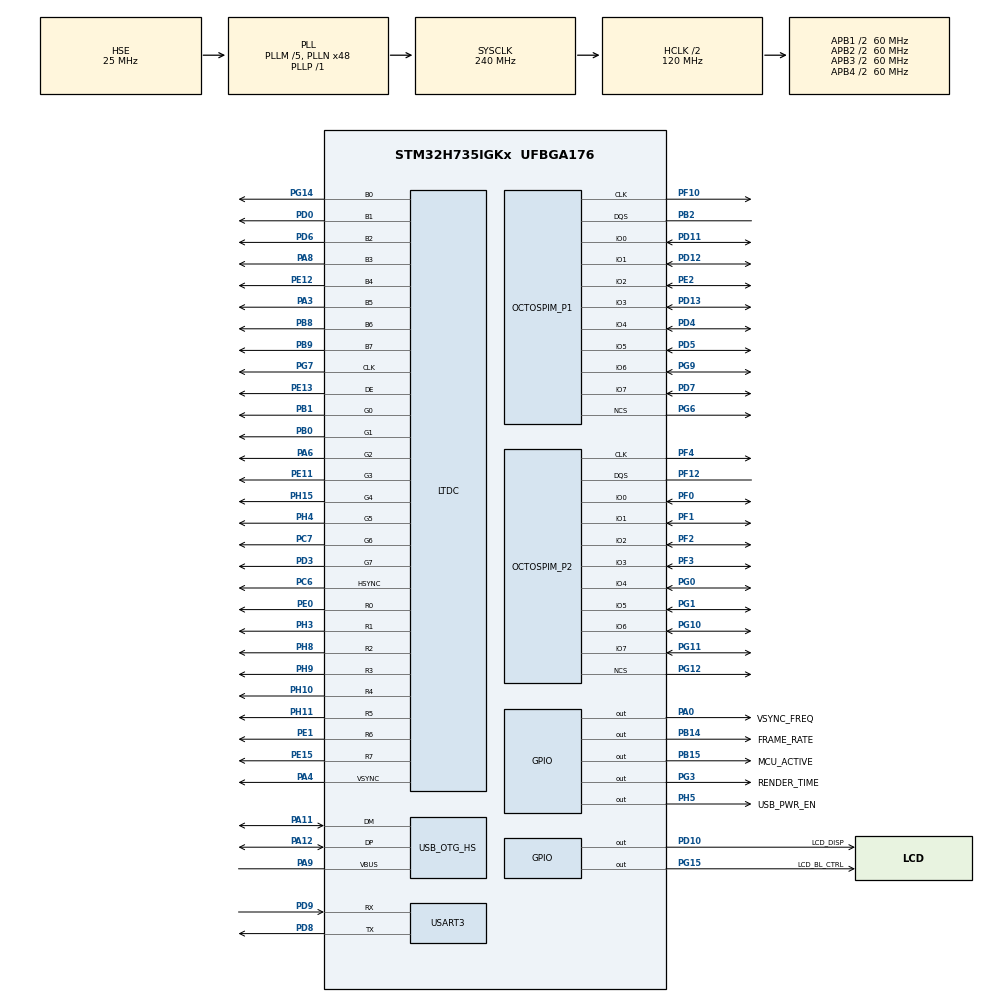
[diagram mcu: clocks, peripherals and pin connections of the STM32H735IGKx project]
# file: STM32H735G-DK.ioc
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CORTEX_M7.AccessPermission-Cortex_Memory_Protection_Unit_Region0_Settings=MPU_REGION_FULL_ACCESS
CORTEX_M7.AccessPermission-Cortex_Memory_Protection_Unit_Region2_Settings=MPU_REGION_FULL_ACCESS
CORTEX_M7.AccessPermission-Cortex_Memory_Protection_Unit_Region4_Settings=MPU_REGION_FULL_ACCESS
CORTEX_M7.BaseAddress-Cortex_Memory_Protection_Unit_Region0_Settings=0x24000000
CORTEX_M7.BaseAddress-Cortex_Memory_Protection_Unit_Region1_Settings=0x70000000
CORTEX_M7.BaseAddress-Cortex_Memory_Protection_Unit_Region2_Settings=0x70000000
CORTEX_M7.BaseAddress-Cortex_Memory_Protection_Unit_Region3_Settings=0x90000000
CORTEX_M7.BaseAddress-Cortex_Memory_Protection_Unit_Region4_Settings=0x90000000
CORTEX_M7.CPU_DCache=Enabled
CORTEX_M7.CPU_ICache=Enabled
CORTEX_M7.DisableExec-Cortex_Memory_Protection_Unit_Region0_Settings=MPU_INSTRUCTION_ACCESS_DISABLE
CORTEX_M7.DisableExec-Cortex_Memory_Protection_Unit_Region1_Settings=MPU_INSTRUCTION_ACCESS_DISABLE
CORTEX_M7.DisableExec-Cortex_Memory_Protection_Unit_Region2_Settings=MPU_INSTRUCTION_ACCESS_DISABLE
CORTEX_M7.DisableExec-Cortex_Memory_Protection_Unit_Region3_Settings=MPU_INSTRUCTION_ACCESS_DISABLE
CORTEX_M7.DisableExec-Cortex_Memory_Protection_Unit_Region4_Settings=MPU_INSTRUCTION_ACCESS_DISABLE
CORTEX_M7.Enable-Cortex_Memory_Protection_Unit_Region0_Settings=MPU_REGION_ENABLE
CORTEX_M7.Enable-Cortex_Memory_Protection_Unit_Region1_Settings=MPU_REGION_ENABLE
CORTEX_M7.Enable-Cortex_Memory_Protection_Unit_Region2_Settings=MPU_REGION_ENABLE
CORTEX_M7.Enable-Cortex_Memory_Protection_Unit_Region3_Settings=MPU_REGION_ENABLE
CORTEX_M7.Enable-Cortex_Memory_Protection_Unit_Region4_Settings=MPU_REGION_ENABLE
CORTEX_M7.IsBufferable-Cortex_Memory_Protection_Unit_Region0_Settings=MPU_ACCESS_BUFFERABLE
CORTEX_M7.IsBufferable-Cortex_Memory_Protection_Unit_Region2_Settings=MPU_ACCESS_BUFFERABLE
CORTEX_M7.IsCacheable-Cortex_Memory_Protection_Unit_Region0_Settings=MPU_ACCESS_CACHEABLE
CORTEX_M7.IsCacheable-Cortex_Memory_Protection_Unit_Region2_Settings=MPU_ACCESS_CACHEABLE
CORTEX_M7.IsCacheable-Cortex_Memory_Protection_Unit_Region4_Settings=MPU_ACCESS_CACHEABLE
CORTEX_M7.MPU_Control=MPU_PRIVILEGED_DEFAULT
CORTEX_M7.Size-Cortex_Memory_Protection_Unit_Region0_Settings=MPU_REGION_SIZE_512KB
CORTEX_M7.Size-Cortex_Memory_Protection_Unit_Region1_Settings=MPU_REGION_SIZE_512MB
CORTEX_M7.Size-Cortex_Memory_Protection_Unit_Region2_Settings=MPU_REGION_SIZE_8MB
CORTEX_M7.Size-Cortex_Memory_Protection_Unit_Region3_Settings=MPU_REGION_SIZE_512MB
CORTEX_M7.Size-Cortex_Memory_Protection_Unit_Region4_Settings=MPU_REGION_SIZE_64MB
DMA2D.ColorMode=DMA2D_OUTPUT_RGB888
DMA2D.Mode=DMA2D_R2M
FREERTOS.Tasks01=defaultTask,24,128,StartDefaultTask,Default,NULL,Dynamic,NULL,NULL;TouchGFXTask,24,1024,TouchGFX_Task,As external,NULL,Dynamic,NULL,NULL
FREERTOS.configUSE_APPLICATION_TASK_TAG=1
FREERTOS.configUSE_IDLE_HOOK=1
FREERTOS.configUSE_NEWLIB_REENTRANT=1
LTDC.ActiveH=272
LTDC.ActiveW=480
LTDC.Alpha_L0=255
LTDC.FBStartAdress_L0=0x70000000
LTDC.FBStartAdress_L1=0x70000000
LTDC.HBP=13
LTDC.HFP=32
LTDC.HSync=41
LTDC.ImageHeight_L0=272
LTDC.ImageWidth_L0=480
LTDC.Layers=0
LTDC.PixelFormat_L0=LTDC_PIXEL_FORMAT_RGB888
LTDC.VSync=10
LTDC.WindowX1_L0=480
LTDC.WindowY1_L0=272
Mcu.Family=STM32H7
Mcu.Name=STM32H735IGKx
Mcu.Package=UFBGA176
NVIC.DMA2D_IRQn=true\:5\:0\:true\:false\:true\:false\:true\:true\:true
NVIC.LTDC_IRQn=true\:5\:0\:true\:false\:true\:false\:true\:true\:true
NVIC.PriorityGroup=NVIC_PRIORITYGROUP_4
NVIC.TIM6_DAC_IRQn=true\:0\:0\:false\:false\:true\:false\:false\:true\:true
NVIC.TimeBase=TIM6_DAC_IRQn
NVIC.TimeBaseIP=TIM6
OCTOSPI1.ChipSelectBoundary=0
OCTOSPI1.ChipSelectHighTime=2
OCTOSPI1.ClockPrescaler=2
OCTOSPI1.FifoThreshold=4
OCTOSPI1.MemoryType=HAL_OSPI_MEMTYPE_MACRONIX
OCTOSPI2.AccessTime=6
OCTOSPI2.ChipSelectBoundary=23
OCTOSPI2.ChipSelectHighTime=4
OCTOSPI2.ClkChipSelectHighTime=0
OCTOSPI2.ClockPrescaler=2
OCTOSPI2.DelayBlockBypass=HAL_OSPI_DELAY_BLOCK_USED
OCTOSPI2.DelayHoldQuarterCycle=HAL_OSPI_DHQC_ENABLE
OCTOSPI2.DeviceSize=24
OCTOSPI2.FifoThreshold=4
OCTOSPI2.LatencyMode=HAL_OSPI_FIXED_LATENCY
OCTOSPI2.RWRecoveryTime=3
OCTOSPI2.Refresh=400
OCTOSPI2.WriteZeroLatency=HAL_OSPI_LATENCY_ON_WRITE
PA0.GPIO_Label=VSYNC_FREQ
PA0.GPIO_Speed=GPIO_SPEED_FREQ_VERY_HIGH
PA0.Signal=GPIO_Output
PA11.Mode=Host_FS
PA11.Signal=USB_OTG_HS_DM
PA12.Mode=Host_FS
PA12.Signal=USB_OTG_HS_DP
PA3.GPIO_Speed=GPIO_SPEED_FREQ_VERY_HIGH
PA3.Mode=RGB888
PA3.Signal=LTDC_B5
PA4.GPIO_Speed=GPIO_SPEED_FREQ_VERY_HIGH
PA4.Mode=RGB888
PA4.Signal=LTDC_VSYNC
PA6.GPIO_Speed=GPIO_SPEED_FREQ_VERY_HIGH
PA6.Mode=RGB888
PA6.Signal=LTDC_G2
PA8.GPIO_Speed=GPIO_SPEED_FREQ_VERY_HIGH
PA8.Mode=RGB888
PA8.Signal=LTDC_B3
PA9.Mode=Activate_VBUS_FS
PA9.Signal=USB_OTG_HS_VBUS
PB0.GPIO_Speed=GPIO_SPEED_FREQ_VERY_HIGH
PB0.Mode=RGB888
PB0.Signal=LTDC_G1
PB1.GPIO_Speed=GPIO_SPEED_FREQ_VERY_HIGH
PB1.Mode=RGB888
PB1.Signal=LTDC_G0
PB14.GPIO_Label=FRAME_RATE
PB14.GPIO_Speed=GPIO_SPEED_FREQ_VERY_HIGH
PB14.Signal=GPIO_Output
PB15.GPIO_Label=MCU_ACTIVE
PB15.GPIO_Speed=GPIO_SPEED_FREQ_VERY_HIGH
PB15.Signal=GPIO_Output
PB2.Mode=OCTOSPI1_Port1_DQS
PB2.Signal=OCTOSPIM_P1_DQS
PB8.GPIO_Speed=GPIO_SPEED_FREQ_VERY_HIGH
PB8.Mode=RGB888
PB8.Signal=LTDC_B6
PB9.GPIO_Speed=GPIO_SPEED_FREQ_VERY_HIGH
PB9.Mode=RGB888
PB9.Signal=LTDC_B7
PC6.GPIO_Speed=GPIO_SPEED_FREQ_VERY_HIGH
PC6.Mode=RGB888
PC6.Signal=LTDC_HSYNC
PC7.GPIO_Speed=GPIO_SPEED_FREQ_VERY_HIGH
PC7.Mode=RGB888
PC7.Signal=LTDC_G6
PD0.GPIO_Speed=GPIO_SPEED_FREQ_VERY_HIGH
PD0.Mode=RGB888
PD0.Signal=LTDC_B1
PD10.GPIO_Label=LCD_DISP
PD10.GPIO_PuPd=GPIO_NOPULL
PD10.GPIO_Speed=GPIO_SPEED_FREQ_LOW
PD10.PinState=GPIO_PIN_RESET
PD10.Signal=GPIO_Output
PD11.Mode=OCTOSPI1_IOL_Port1L
PD11.Signal=OCTOSPIM_P1_IO0
PD12.Mode=OCTOSPI1_IOL_Port1L
PD12.Signal=OCTOSPIM_P1_IO1
PD13.Mode=OCTOSPI1_IOL_Port1L
PD13.Signal=OCTOSPIM_P1_IO3
PD3.GPIO_Speed=GPIO_SPEED_FREQ_VERY_HIGH
PD3.Mode=RGB888
PD3.Signal=LTDC_G7
PD4.Mode=OCTOSPI1_IOH_Port1H
PD4.Signal=OCTOSPIM_P1_IO4
PD5.Mode=OCTOSPI1_IOH_Port1H
PD5.Signal=OCTOSPIM_P1_IO5
PD6.GPIO_Speed=GPIO_SPEED_FREQ_VERY_HIGH
PD6.Mode=RGB888
PD6.Signal=LTDC_B2
PD7.Mode=OCTOSPI1_IOH_Port1H
PD7.Signal=OCTOSPIM_P1_IO7
PD8.Mode=Asynchronous
PD8.Signal=USART3_TX
PD9.Mode=Asynchronous
PD9.Signal=USART3_RX
PE0.GPIO_Speed=GPIO_SPEED_FREQ_VERY_HIGH
PE0.Mode=RGB888
PE0.Signal=LTDC_R0
PE1.GPIO_Speed=GPIO_SPEED_FREQ_VERY_HIGH
PE1.Mode=RGB888
PE1.Signal=LTDC_R6
PE11.GPIO_Speed=GPIO_SPEED_FREQ_VERY_HIGH
PE11.Mode=RGB888
PE11.Signal=LTDC_G3
PE12.GPIO_Speed=GPIO_SPEED_FREQ_VERY_HIGH
PE12.Mode=RGB888
PE12.Signal=LTDC_B4
PE13.GPIO_Speed=GPIO_SPEED_FREQ_VERY_HIGH
PE13.Mode=RGB888
PE13.Signal=LTDC_DE
PE15.GPIO_Speed=GPIO_SPEED_FREQ_VERY_HIGH
PE15.Mode=RGB888
PE15.Signal=LTDC_R7
PE2.Mode=OCTOSPI1_IOL_Port1L
PE2.Signal=OCTOSPIM_P1_IO2
PF0.Mode=OCTOSPI2_IOL_Port2L
PF0.Signal=OCTOSPIM_P2_IO0
PF1.Mode=OCTOSPI2_IOL_Port2L
PF1.Signal=OCTOSPIM_P2_IO1
PF10.Mode=O1_P1_CLK
PF10.Signal=OCTOSPIM_P1_CLK
PF12.Mode=OCTOSPI2_Port2_DQS
PF12.Signal=OCTOSPIM_P2_DQS
PF2.Mode=OCTOSPI2_IOL_Port2L
PF2.Signal=OCTOSPIM_P2_IO2
PF3.Mode=OCTOSPI2_IOL_Port2L
PF3.Signal=OCTOSPIM_P2_IO3
PF4.Mode=O2_P2_CLK
PF4.Signal=OCTOSPIM_P2_CLK
PG0.Mode=OCTOSPI2_IOH_Port2H
PG0.Signal=OCTOSPIM_P2_IO4
PG1.Mode=OCTOSPI2_IOH_Port2H
PG1.Signal=OCTOSPIM_P2_IO5
PG10.Mode=OCTOSPI2_IOH_Port2H
PG10.Signal=OCTOSPIM_P2_IO6
PG11.Mode=OCTOSPI2_IOH_Port2H
PG11.Signal=OCTOSPIM_P2_IO7
PG12.Mode=OCTOSPI2_Port2_NCS
PG12.Signal=OCTOSPIM_P2_NCS
PG14.GPIO_Speed=GPIO_SPEED_FREQ_VERY_HIGH
PG14.Mode=RGB888
PG14.Signal=LTDC_B0
PG15.GPIO_Label=LCD_BL_CTRL
PG15.Signal=GPIO_Output
PG3.GPIO_Label=RENDER_TIME
PG3.GPIO_Speed=GPIO_SPEED_FREQ_VERY_HIGH
PG3.Signal=GPIO_Output
PG6.Mode=OCTOSPI1_Port1_NCS
PG6.Signal=OCTOSPIM_P1_NCS
PG7.GPIO_Speed=GPIO_SPEED_FREQ_VERY_HIGH
PG7.Mode=RGB888
PG7.Signal=LTDC_CLK
PG9.Mode=OCTOSPI1_IOH_Port1H
PG9.Signal=OCTOSPIM_P1_IO6
PH0-OSC_IN.Mode=HSE-External-Oscillator
PH0-OSC_IN.Signal=RCC_OSC_IN
PH1-OSC_OUT.Mode=HSE-External-Oscillator
PH1-OSC_OUT.Signal=RCC_OSC_OUT
PH10.GPIO_Speed=GPIO_SPEED_FREQ_VERY_HIGH
PH10.Mode=RGB888
PH10.Signal=LTDC_R4
PH11.GPIO_Speed=GPIO_SPEED_FREQ_VERY_HIGH
PH11.Mode=RGB888
PH11.Signal=LTDC_R5
PH15.GPIO_Speed=GPIO_SPEED_FREQ_VERY_HIGH
PH15.Mode=RGB888
PH15.Signal=LTDC_G4
PH3.GPIO_Speed=GPIO_SPEED_FREQ_VERY_HIGH
PH3.Mode=RGB888
PH3.Signal=LTDC_R1
PH4.GPIO_Speed=GPIO_SPEED_FREQ_VERY_HIGH
PH4.Mode=RGB888
PH4.Signal=LTDC_G5
PH5.GPIO_Label=USB_PWR_EN
PH5.PinState=GPIO_PIN_SET
PH5.Signal=GPIO_Output
PH8.GPIO_Speed=GPIO_SPEED_FREQ_VERY_HIGH
PH8.Mode=RGB888
PH8.Signal=LTDC_R2
PH9.GPIO_Speed=GPIO_SPEED_FREQ_VERY_HIGH
PH9.Mode=RGB888
PH9.Signal=LTDC_R3
ProjectManager.HeapSize=0x1000
ProjectManager.StackSize=0x1000
ProjectManager.TargetToolchain=STM32CubeIDE
RCC.ADCFreq_Value=96000671.38671875
RCC.APB1Freq_Value=60000000
RCC.APB2Freq_Value=60000000
RCC.APB3Freq_Value=60000000
RCC.APB4Freq_Value=60000000
RCC.CortexFreq_Value=240000000
RCC.D1PPRE=RCC_APB3_DIV2
RCC.D2PPRE1=RCC_APB1_DIV2
RCC.D2PPRE2=RCC_APB2_DIV2
RCC.D3PPRE=RCC_APB4_DIV2
RCC.DIVM1=5
RCC.DIVM2=2
RCC.DIVM3=1
RCC.DIVN1=48
RCC.DIVN2=15
RCC.DIVN3=4
RCC.DIVP1=1
RCC.DIVQ1=5
RCC.HCLKFreq_Value=120000000
RCC.HPRE=RCC_HCLK_DIV2
RCC.PLL2FRACN=2950
RCC.PLL3FRACN=0
RCC.PLLFRACN=0
RCC.PLLSourceVirtual=RCC_PLLSOURCE_HSE
RCC.QSPICLockSelection=RCC_OSPICLKSOURCE_PLL2
RCC.SYSCLKFreq_VALUE=240000000
RCC.SYSCLKSource=RCC_SYSCLKSOURCE_PLLCLK
RCC.SupplySource=PWR_DIRECT_SMPS_SUPPLY
RCC.USBFreq_Value=48000000
STMicroelectronics.X-CUBE-TOUCHGFX.4.20.0.ApplicationCcGraphicsJjApplication=TouchGFXOoGenerator
STMicroelectronics.X-CUBE-TOUCHGFX.4.20.0.tgfx_address1=0x70000000
STMicroelectronics.X-CUBE-TOUCHGFX.4.20.0.tgfx_address2=0x70060000
STMicroelectronics.X-CUBE-TOUCHGFX.4.20.0.tgfx_buffering_strategy=Double
STMicroelectronics.X-CUBE-TOUCHGFX.4.20.0.tgfx_display_interface=disp_ltdc
STMicroelectronics.X-CUBE-TOUCHGFX.4.20.0.tgfx_hardware_accelerator=dma_2d
STMicroelectronics.X-CUBE-TOUCHGFX.4.20.0.tgfx_location=By Address
STMicroelectronics.X-CUBE-TOUCHGFX.4.20.0.tgfx_vsync=vsync_ltdc
USART3.VirtualMode-Asynchronous=VM_ASYNC
USB_OTG_HS.VirtualMode-Host_FS=Host_FS
VP_CRC_VS_CRC.Mode=CRC_Activate
VP_DMA2D_VS_DMA2D.Mode=DMA2D_Activate
VP_FREERTOS_VS_CMSIS_V2.Mode=CMSIS_V2
VP_OCTOSPI1_VS_octo.Mode=octo_mode
VP_OCTOSPI2_VS_octo.Mode=hyperbus_mode
VP_STMicroelectronics.X-CUBE-TOUCHGFX_VS_GraphicsJjApplication_4.20.0.Mode=GraphicsJjApplication
VP_SYS_VS_tim6.Mode=TIM6
board=custom

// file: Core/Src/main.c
/* USER CODE BEGIN Header */
/**
  ******************************************************************************
  * @file           : main.c
  * @brief          : Main program body
  ******************************************************************************
  * @attention
  *
  * <h2><center>&copy; Copyright (c) 2020 STMicroelectronics.
  * All rights reserved.</center></h2>
  *
  * This software component is licensed by ST under Ultimate Liberty license
  * SLA0044, the "License"; You may not use this file except in compliance with
  * the License. You may obtain a copy of the License at:
  *                             www.st.com/SLA0044
  *
  ******************************************************************************
  */
/* USER CODE END Header */
#include "main.h"
#include "cmsis_os.h"
#include "app_touchgfx.h"

/* USER CODE BEGIN Includes */
#include "stm32h735g_discovery_ospi.h"
#include "stm32h7xx_hal_ospi.h"
#include "stdio.h"
#include "usb_host.h"
/* USER CODE END Includes */

CRC_HandleTypeDef hcrc;

DMA2D_HandleTypeDef hdma2d;

LTDC_HandleTypeDef hltdc;

OSPI_HandleTypeDef hospi1;
OSPI_HandleTypeDef hospi2;

UART_HandleTypeDef huart3;

HCD_HandleTypeDef hhcd_USB_OTG_HS;

/* Definitions for defaultTask */
osThreadId_t defaultTaskHandle;
const osThreadAttr_t defaultTask_attributes = {
  .name = "defaultTask",
  .stack_size = 128 * 4,
  .priority = (osPriority_t) osPriorityNormal,
};
/* Definitions for TouchGFXTask */
osThreadId_t TouchGFXTaskHandle;
const osThreadAttr_t TouchGFXTask_attributes = {
  .name = "TouchGFXTask",
  .stack_size = 1024 * 4,
  .priority = (osPriority_t) osPriorityNormal,
};

void SystemClock_Config(void);
void PeriphCommonClock_Config(void);
static void MPU_Config(void);
static void MX_GPIO_Init(void);
static void MX_CRC_Init(void);
static void MX_DMA2D_Init(void);
static void MX_LTDC_Init(void);
static void MX_OCTOSPI1_Init(void);
static void MX_OCTOSPI2_Init(void);
static void MX_USART3_UART_Init(void);
static void MX_USB_OTG_HS_HCD_Init(void);
void StartDefaultTask(void *argument);
extern void TouchGFX_Task(void *argument);

/* USER CODE BEGIN 0 */

int __io_putchar(int ch)
{
  /* Place your implementation of fputc here */
  /* e.g. write a character to the USART1 and Loop until the end of transmission */
  HAL_UART_Transmit(&huart3, (uint8_t *)&ch, 1, 0xFFFF);

  return ch;
}

/* USER CODE END 0 */

int main(void)
{

  /* MPU Configuration--------------------------------------------------------*/
  MPU_Config();

  /* Enable I-Cache---------------------------------------------------------*/
  SCB_EnableICache();

  /* Enable D-Cache---------------------------------------------------------*/
  SCB_EnableDCache();

  /* MCU Configuration--------------------------------------------------------*/

  /* Reset of all peripherals, Initializes the Flash interface and the Systick. */
  HAL_Init();

  /* Configure the system clock */
  SystemClock_Config();

/* Configure the peripherals common clocks */
  PeriphCommonClock_Config();

  /* Initialize all configured peripherals */
  MX_GPIO_Init();
  MX_CRC_Init();
  MX_DMA2D_Init();
  MX_LTDC_Init();
  MX_OCTOSPI1_Init();
  MX_OCTOSPI2_Init();
  MX_USART3_UART_Init();
  MX_USB_OTG_HS_HCD_Init();
  MX_TouchGFX_Init();
  /* Call PreOsInit function */
  MX_TouchGFX_PreOSInit();

  /* Init scheduler */
  osKernelInitialize();

  /* Create the thread(s) */
  /* creation of defaultTask */
  defaultTaskHandle = osThreadNew(StartDefaultTask, NULL, &defaultTask_attributes);

  /* creation of TouchGFXTask */
  TouchGFXTaskHandle = osThreadNew(TouchGFX_Task, NULL, &TouchGFXTask_attributes);

  /* Start scheduler */
  osKernelStart();

  /* We should never get here as control is now taken by the scheduler */
  /* Infinite loop */
  while (1)
  {

  }
}

void SystemClock_Config(void)
{
  RCC_OscInitTypeDef RCC_OscInitStruct = {0};
  RCC_ClkInitTypeDef RCC_ClkInitStruct = {0};

  /** Supply configuration update enable
  */
  HAL_PWREx_ConfigSupply(PWR_DIRECT_SMPS_SUPPLY);

  /** Configure the main internal regulator output voltage
  */
  __HAL_PWR_VOLTAGESCALING_CONFIG(PWR_REGULATOR_VOLTAGE_SCALE2);

  while(!__HAL_PWR_GET_FLAG(PWR_FLAG_VOSRDY)) {}

  /** Macro to configure the PLL clock source
  */
  __HAL_RCC_PLL_PLLSOURCE_CONFIG(RCC_PLLSOURCE_HSE);

  /** Initializes the RCC Oscillators according to the specified parameters
  * in the RCC_OscInitTypeDef structure.
  */
  RCC_OscInitStruct.OscillatorType = RCC_OSCILLATORTYPE_HSE;
  RCC_OscInitStruct.HSEState = RCC_HSE_ON;
  RCC_OscInitStruct.PLL.PLLState = RCC_PLL_ON;
  RCC_OscInitStruct.PLL.PLLSource = RCC_PLLSOURCE_HSE;
  RCC_OscInitStruct.PLL.PLLM = 5;
  RCC_OscInitStruct.PLL.PLLN = 48;
  RCC_OscInitStruct.PLL.PLLP = 1;
  RCC_OscInitStruct.PLL.PLLQ = 5;
  RCC_OscInitStruct.PLL.PLLR = 2;
  RCC_OscInitStruct.PLL.PLLRGE = RCC_PLL1VCIRANGE_2;
  RCC_OscInitStruct.PLL.PLLVCOSEL = RCC_PLL1VCOWIDE;
  RCC_OscInitStruct.PLL.PLLFRACN = 0;
  if (HAL_RCC_OscConfig(&RCC_OscInitStruct) != HAL_OK)
  {
    Error_Handler();
  }

  /** Initializes the CPU, AHB and APB buses clocks
  */
  RCC_ClkInitStruct.ClockType = RCC_CLOCKTYPE_HCLK|RCC_CLOCKTYPE_SYSCLK
                              |RCC_CLOCKTYPE_PCLK1|RCC_CLOCKTYPE_PCLK2
                              |RCC_CLOCKTYPE_D3PCLK1|RCC_CLOCKTYPE_D1PCLK1;
  RCC_ClkInitStruct.SYSCLKSource = RCC_SYSCLKSOURCE_PLLCLK;
  RCC_ClkInitStruct.SYSCLKDivider = RCC_SYSCLK_DIV1;
  RCC_ClkInitStruct.AHBCLKDivider = RCC_HCLK_DIV2;
  RCC_ClkInitStruct.APB3CLKDivider = RCC_APB3_DIV2;
  RCC_ClkInitStruct.APB1CLKDivider = RCC_APB1_DIV2;
  RCC_ClkInitStruct.APB2CLKDivider = RCC_APB2_DIV2;
  RCC_ClkInitStruct.APB4CLKDivider = RCC_APB4_DIV2;

  if (HAL_RCC_ClockConfig(&RCC_ClkInitStruct, FLASH_LATENCY_2) != HAL_OK)
  {
    Error_Handler();
  }
}

void PeriphCommonClock_Config(void)
{
  RCC_PeriphCLKInitTypeDef PeriphClkInitStruct = {0};

  /** Initializes the peripherals clock
  */
  PeriphClkInitStruct.PeriphClockSelection = RCC_PERIPHCLK_OSPI;
  PeriphClkInitStruct.PLL2.PLL2M = 2;
  PeriphClkInitStruct.PLL2.PLL2N = 15;
  PeriphClkInitStruct.PLL2.PLL2P = 2;
  PeriphClkInitStruct.PLL2.PLL2Q = 2;
  PeriphClkInitStruct.PLL2.PLL2R = 2;
  PeriphClkInitStruct.PLL2.PLL2RGE = RCC_PLL2VCIRANGE_3;
  PeriphClkInitStruct.PLL2.PLL2VCOSEL = RCC_PLL2VCOWIDE;
  PeriphClkInitStruct.PLL2.PLL2FRACN = 2950;
  PeriphClkInitStruct.OspiClockSelection = RCC_OSPICLKSOURCE_PLL2;
  if (HAL_RCCEx_PeriphCLKConfig(&PeriphClkInitStruct) != HAL_OK)
  {
    Error_Handler();
  }
}

static void MX_CRC_Init(void)
{

  hcrc.Instance = CRC;
  hcrc.Init.DefaultPolynomialUse = DEFAULT_POLYNOMIAL_ENABLE;
  hcrc.Init.DefaultInitValueUse = DEFAULT_INIT_VALUE_ENABLE;
  hcrc.Init.InputDataInversionMode = CRC_INPUTDATA_INVERSION_NONE;
  hcrc.Init.OutputDataInversionMode = CRC_OUTPUTDATA_INVERSION_DISABLE;
  hcrc.InputDataFormat = CRC_INPUTDATA_FORMAT_BYTES;
  if (HAL_CRC_Init(&hcrc) != HAL_OK)
  {
    Error_Handler();
  }

}

static void MX_DMA2D_Init(void)
{

  hdma2d.Instance = DMA2D;
  hdma2d.Init.Mode = DMA2D_R2M;
  hdma2d.Init.ColorMode = DMA2D_OUTPUT_RGB888;
  hdma2d.Init.OutputOffset = 0;
  if (HAL_DMA2D_Init(&hdma2d) != HAL_OK)
  {
    Error_Handler();
  }

}

static void MX_LTDC_Init(void)
{

  LTDC_LayerCfgTypeDef pLayerCfg = {0};

  hltdc.Instance = LTDC;
  hltdc.Init.HSPolarity = LTDC_HSPOLARITY_AL;
  hltdc.Init.VSPolarity = LTDC_VSPOLARITY_AL;
  hltdc.Init.DEPolarity = LTDC_DEPOLARITY_AL;
  hltdc.Init.PCPolarity = LTDC_PCPOLARITY_IPC;
  hltdc.Init.HorizontalSync = 40;
  hltdc.Init.VerticalSync = 9;
  hltdc.Init.AccumulatedHBP = 53;
  hltdc.Init.AccumulatedVBP = 11;
  hltdc.Init.AccumulatedActiveW = 533;
  hltdc.Init.AccumulatedActiveH = 283;
  hltdc.Init.TotalWidth = 565;
  hltdc.Init.TotalHeigh = 285;
  hltdc.Init.Backcolor.Blue = 0;
  hltdc.Init.Backcolor.Green = 0;
  hltdc.Init.Backcolor.Red = 0;
  if (HAL_LTDC_Init(&hltdc) != HAL_OK)
  {
    Error_Handler();
  }
  pLayerCfg.WindowX0 = 0;
  pLayerCfg.WindowX1 = 480;
  pLayerCfg.WindowY0 = 0;
  pLayerCfg.WindowY1 = 272;
  pLayerCfg.PixelFormat = LTDC_PIXEL_FORMAT_RGB888;
  pLayerCfg.Alpha = 255;
  pLayerCfg.Alpha0 = 0;
  pLayerCfg.BlendingFactor1 = LTDC_BLENDING_FACTOR1_CA;
  pLayerCfg.BlendingFactor2 = LTDC_BLENDING_FACTOR2_CA;
  pLayerCfg.FBStartAdress = 0x70000000;
  pLayerCfg.ImageWidth = 480;
  pLayerCfg.ImageHeight = 272;
  pLayerCfg.Backcolor.Blue = 0;
  pLayerCfg.Backcolor.Green = 0;
  pLayerCfg.Backcolor.Red = 0;
  if (HAL_LTDC_ConfigLayer(&hltdc, &pLayerCfg, 0) != HAL_OK)
  {
    Error_Handler();
  }

}

static void MX_OCTOSPI1_Init(void)
{

  /* USER CODE BEGIN OCTOSPI1_Init 0 */
  BSP_OSPI_NOR_Init_t ospi_nor_int;
  /* USER CODE END OCTOSPI1_Init 0 */

  OSPIM_CfgTypeDef sOspiManagerCfg = {0};

  /* OCTOSPI1 parameter configuration*/
  hospi1.Instance = OCTOSPI1;
  hospi1.Init.FifoThreshold = 4;
  hospi1.Init.DualQuad = HAL_OSPI_DUALQUAD_DISABLE;
  hospi1.Init.MemoryType = HAL_OSPI_MEMTYPE_MACRONIX;
  hospi1.Init.DeviceSize = 32;
  hospi1.Init.ChipSelectHighTime = 2;
  hospi1.Init.FreeRunningClock = HAL_OSPI_FREERUNCLK_DISABLE;
  hospi1.Init.ClockMode = HAL_OSPI_CLOCK_MODE_0;
  hospi1.Init.WrapSize = HAL_OSPI_WRAP_NOT_SUPPORTED;
  hospi1.Init.ClockPrescaler = 2;
  hospi1.Init.SampleShifting = HAL_OSPI_SAMPLE_SHIFTING_NONE;
  hospi1.Init.DelayHoldQuarterCycle = HAL_OSPI_DHQC_DISABLE;
  hospi1.Init.ChipSelectBoundary = 0;
  hospi1.Init.DelayBlockBypass = HAL_OSPI_DELAY_BLOCK_BYPASSED;
  hospi1.Init.MaxTran = 0;
  hospi1.Init.Refresh = 0;
  if (HAL_OSPI_Init(&hospi1) != HAL_OK)
  {
    Error_Handler();
  }
  sOspiManagerCfg.ClkPort = 1;
  sOspiManagerCfg.DQSPort = 1;
  sOspiManagerCfg.NCSPort = 1;
  sOspiManagerCfg.IOLowPort = HAL_OSPIM_IOPORT_1_LOW;
  sOspiManagerCfg.IOHighPort = HAL_OSPIM_IOPORT_1_HIGH;
  if (HAL_OSPIM_Config(&hospi1, &sOspiManagerCfg, HAL_OSPI_TIMEOUT_DEFAULT_VALUE) != HAL_OK)
  {
    Error_Handler();
  }
  /* USER CODE BEGIN OCTOSPI1_Init 2 */
  HAL_OSPI_DeInit(&hospi1);
  ospi_nor_int.InterfaceMode = BSP_OSPI_NOR_OPI_MODE;
  ospi_nor_int.TransferRate  = BSP_OSPI_NOR_DTR_TRANSFER;
  BSP_OSPI_NOR_DeInit(0);
  if(BSP_OSPI_NOR_Init(0, &ospi_nor_int) != BSP_ERROR_NONE)
  {
    Error_Handler();
  }
  if(BSP_OSPI_NOR_EnableMemoryMappedMode(0) != BSP_ERROR_NONE)
  {
    Error_Handler();
  }
  /* USER CODE END OCTOSPI1_Init 2 */

}

static void MX_OCTOSPI2_Init(void)
{

  OSPIM_CfgTypeDef sOspiManagerCfg = {0};
  OSPI_HyperbusCfgTypeDef sHyperBusCfg = {0};

  /* USER CODE BEGIN OCTOSPI2_Init 1 */
  OSPI_HyperbusCmdTypeDef sCommand = {0};
  OSPI_MemoryMappedTypeDef sMemMappedCfg = {0};
  /* USER CODE END OCTOSPI2_Init 1 */
  /* OCTOSPI2 parameter configuration*/
  hospi2.Instance = OCTOSPI2;
  hospi2.Init.FifoThreshold = 4;
  hospi2.Init.DualQuad = HAL_OSPI_DUALQUAD_DISABLE;
  hospi2.Init.MemoryType = HAL_OSPI_MEMTYPE_HYPERBUS;
  hospi2.Init.DeviceSize = 24;
  hospi2.Init.ChipSelectHighTime = 4;
  hospi2.Init.FreeRunningClock = HAL_OSPI_FREERUNCLK_DISABLE;
  hospi2.Init.ClockMode = HAL_OSPI_CLOCK_MODE_0;
  hospi2.Init.WrapSize = HAL_OSPI_WRAP_NOT_SUPPORTED;
  hospi2.Init.ClockPrescaler = 2;
  hospi2.Init.SampleShifting = HAL_OSPI_SAMPLE_SHIFTING_NONE;
  hospi2.Init.DelayHoldQuarterCycle = HAL_OSPI_DHQC_ENABLE;
  hospi2.Init.ChipSelectBoundary = 23;
  hospi2.Init.DelayBlockBypass = HAL_OSPI_DELAY_BLOCK_USED;
  hospi2.Init.MaxTran = 0;
  hospi2.Init.Refresh = 400;
  if (HAL_OSPI_Init(&hospi2) != HAL_OK)
  {
    Error_Handler();
  }
  sOspiManagerCfg.ClkPort = 2;
  sOspiManagerCfg.DQSPort = 2;
  sOspiManagerCfg.NCSPort = 2;
  sOspiManagerCfg.IOLowPort = HAL_OSPIM_IOPORT_2_LOW;
  sOspiManagerCfg.IOHighPort = HAL_OSPIM_IOPORT_2_HIGH;
  if (HAL_OSPIM_Config(&hospi2, &sOspiManagerCfg, HAL_OSPI_TIMEOUT_DEFAULT_VALUE) != HAL_OK)
  {
    Error_Handler();
  }
  sHyperBusCfg.RWRecoveryTime = 3;
  sHyperBusCfg.AccessTime = 6;
  sHyperBusCfg.WriteZeroLatency = HAL_OSPI_LATENCY_ON_WRITE;
  sHyperBusCfg.LatencyMode = HAL_OSPI_FIXED_LATENCY;
  if (HAL_OSPI_HyperbusCfg(&hospi2, &sHyperBusCfg, HAL_OSPI_TIMEOUT_DEFAULT_VALUE) != HAL_OK)
  {
    Error_Handler();
  }
  /* USER CODE BEGIN OCTOSPI2_Init 2 */
  sCommand.AddressSpace = HAL_OSPI_MEMORY_ADDRESS_SPACE;
  sCommand.AddressSize  = HAL_OSPI_ADDRESS_32_BITS;
  sCommand.DQSMode      = HAL_OSPI_DQS_ENABLE;
  sCommand.Address      = 0;
  sCommand.NbData       = 1;

  if (HAL_OSPI_HyperbusCmd(&hospi2, &sCommand, HAL_OSPI_TIMEOUT_DEFAULT_VALUE) != HAL_OK)
  {
    Error_Handler();
  }

  sMemMappedCfg.TimeOutActivation = HAL_OSPI_TIMEOUT_COUNTER_DISABLE;

  if (HAL_OSPI_MemoryMapped(&hospi2, &sMemMappedCfg) != HAL_OK)
  {
    Error_Handler();
  }

  /* USER CODE END OCTOSPI2_Init 2 */

}

static void MX_USART3_UART_Init(void)
{

  huart3.Instance = USART3;
  huart3.Init.BaudRate = 115200;
  huart3.Init.WordLength = UART_WORDLENGTH_8B;
  huart3.Init.StopBits = UART_STOPBITS_1;
  huart3.Init.Parity = UART_PARITY_NONE;
  huart3.Init.Mode = UART_MODE_TX_RX;
  huart3.Init.HwFlowCtl = UART_HWCONTROL_NONE;
  huart3.Init.OverSampling = UART_OVERSAMPLING_16;
  huart3.Init.OneBitSampling = UART_ONE_BIT_SAMPLE_DISABLE;
  huart3.Init.ClockPrescaler = UART_PRESCALER_DIV1;
  huart3.AdvancedInit.AdvFeatureInit = UART_ADVFEATURE_NO_INIT;
  if (HAL_UART_Init(&huart3) != HAL_OK)
  {
    Error_Handler();
  }
  if (HAL_UARTEx_SetTxFifoThreshold(&huart3, UART_TXFIFO_THRESHOLD_1_8) != HAL_OK)
  {
    Error_Handler();
  }
  if (HAL_UARTEx_SetRxFifoThreshold(&huart3, UART_RXFIFO_THRESHOLD_1_8) != HAL_OK)
  {
    Error_Handler();
  }
  if (HAL_UARTEx_DisableFifoMode(&huart3) != HAL_OK)
  {
    Error_Handler();
  }

}

static void MX_USB_OTG_HS_HCD_Init(void)
{

  /* USER CODE BEGIN USB_OTG_HS_Init 0 */
  #if 0  //usb lib enables this
  /* USER CODE END USB_OTG_HS_Init 0 */

  hhcd_USB_OTG_HS.Instance = USB_OTG_HS;
  hhcd_USB_OTG_HS.Init.Host_channels = 16;
  hhcd_USB_OTG_HS.Init.speed = HCD_SPEED_FULL;
  hhcd_USB_OTG_HS.Init.dma_enable = DISABLE;
  hhcd_USB_OTG_HS.Init.phy_itface = USB_OTG_EMBEDDED_PHY;
  hhcd_USB_OTG_HS.Init.Sof_enable = DISABLE;
  hhcd_USB_OTG_HS.Init.low_power_enable = DISABLE;
  hhcd_USB_OTG_HS.Init.use_external_vbus = DISABLE;
  if (HAL_HCD_Init(&hhcd_USB_OTG_HS) != HAL_OK)
  {
    Error_Handler();
  }
  /* USER CODE BEGIN USB_OTG_HS_Init 2 */
#endif
  /* USER CODE END USB_OTG_HS_Init 2 */

}

static void MX_GPIO_Init(void)
{
  GPIO_InitTypeDef GPIO_InitStruct = {0};

  /* GPIO Ports Clock Enable */
  __HAL_RCC_GPIOB_CLK_ENABLE();
  __HAL_RCC_GPIOG_CLK_ENABLE();
  __HAL_RCC_GPIOD_CLK_ENABLE();
  __HAL_RCC_GPIOE_CLK_ENABLE();
  __HAL_RCC_GPIOA_CLK_ENABLE();
  __HAL_RCC_GPIOH_CLK_ENABLE();
  __HAL_RCC_GPIOC_CLK_ENABLE();
  __HAL_RCC_GPIOF_CLK_ENABLE();

  /*Configure GPIO pin Output Level */
  HAL_GPIO_WritePin(GPIOG, LCD_BL_CTRL_Pin|RENDER_TIME_Pin, GPIO_PIN_RESET);

  /*Configure GPIO pin Output Level */
  HAL_GPIO_WritePin(GPIOB, MCU_ACTIVE_Pin|FRAME_RATE_Pin, GPIO_PIN_RESET);

  /*Configure GPIO pin Output Level */
  HAL_GPIO_WritePin(LCD_DISP_GPIO_Port, LCD_DISP_Pin, GPIO_PIN_RESET);

  /*Configure GPIO pin Output Level */
  HAL_GPIO_WritePin(VSYNC_FREQ_GPIO_Port, VSYNC_FREQ_Pin, GPIO_PIN_RESET);

  /*Configure GPIO pin Output Level */
  HAL_GPIO_WritePin(USB_PWR_EN_GPIO_Port, USB_PWR_EN_Pin, GPIO_PIN_SET);

  /*Configure GPIO pin : LCD_BL_CTRL_Pin */
  GPIO_InitStruct.Pin = LCD_BL_CTRL_Pin;
  GPIO_InitStruct.Mode = GPIO_MODE_OUTPUT_PP;
  GPIO_InitStruct.Pull = GPIO_NOPULL;
  GPIO_InitStruct.Speed = GPIO_SPEED_FREQ_LOW;
  HAL_GPIO_Init(LCD_BL_CTRL_GPIO_Port, &GPIO_InitStruct);

  /*Configure GPIO pin : RENDER_TIME_Pin */
  GPIO_InitStruct.Pin = RENDER_TIME_Pin;
  GPIO_InitStruct.Mode = GPIO_MODE_OUTPUT_PP;
  GPIO_InitStruct.Pull = GPIO_NOPULL;
  GPIO_InitStruct.Speed = GPIO_SPEED_FREQ_VERY_HIGH;
  HAL_GPIO_Init(RENDER_TIME_GPIO_Port, &GPIO_InitStruct);

  /*Configure GPIO pins : MCU_ACTIVE_Pin FRAME_RATE_Pin */
  GPIO_InitStruct.Pin = MCU_ACTIVE_Pin|FRAME_RATE_Pin;
  GPIO_InitStruct.Mode = GPIO_MODE_OUTPUT_PP;
  GPIO_InitStruct.Pull = GPIO_NOPULL;
  GPIO_InitStruct.Speed = GPIO_SPEED_FREQ_VERY_HIGH;
  HAL_GPIO_Init(GPIOB, &GPIO_InitStruct);

  /*Configure GPIO pin : LCD_DISP_Pin */
  GPIO_InitStruct.Pin = LCD_DISP_Pin;
  GPIO_InitStruct.Mode = GPIO_MODE_OUTPUT_PP;
  GPIO_InitStruct.Pull = GPIO_NOPULL;
  GPIO_InitStruct.Speed = GPIO_SPEED_FREQ_LOW;
  HAL_GPIO_Init(LCD_DISP_GPIO_Port, &GPIO_InitStruct);

  /*Configure GPIO pin : VSYNC_FREQ_Pin */
  GPIO_InitStruct.Pin = VSYNC_FREQ_Pin;
  GPIO_InitStruct.Mode = GPIO_MODE_OUTPUT_PP;
  GPIO_InitStruct.Pull = GPIO_NOPULL;
  GPIO_InitStruct.Speed = GPIO_SPEED_FREQ_VERY_HIGH;
  HAL_GPIO_Init(VSYNC_FREQ_GPIO_Port, &GPIO_InitStruct);

  /*Configure GPIO pin : USB_PWR_EN_Pin */
  GPIO_InitStruct.Pin = USB_PWR_EN_Pin;
  GPIO_InitStruct.Mode = GPIO_MODE_OUTPUT_PP;
  GPIO_InitStruct.Pull = GPIO_NOPULL;
  GPIO_InitStruct.Speed = GPIO_SPEED_FREQ_LOW;
  HAL_GPIO_Init(USB_PWR_EN_GPIO_Port, &GPIO_InitStruct);

}

void StartDefaultTask(void *argument)
{
  /* USER CODE BEGIN 5 */
	MX_USB_HOST_Init();
  /* Infinite loop */
	for(;;)
	{
	osDelay(100);
	}
  /* USER CODE END 5 */
}

/* MPU Configuration */

void MPU_Config(void)
{
  MPU_Region_InitTypeDef MPU_InitStruct = {0};

  /* Disables the MPU */
  HAL_MPU_Disable();

  /** Initializes and configures the Region and the memory to be protected
  */
  MPU_InitStruct.Enable = MPU_REGION_ENABLE;
  MPU_InitStruct.Number = MPU_REGION_NUMBER0;
  MPU_InitStruct.BaseAddress = 0x24000000;
  MPU_InitStruct.Size = MPU_REGION_SIZE_512KB;
  MPU_InitStruct.SubRegionDisable = 0x0;
  MPU_InitStruct.TypeExtField = MPU_TEX_LEVEL0;
  MPU_InitStruct.AccessPermission = MPU_REGION_FULL_ACCESS;
  MPU_InitStruct.DisableExec = MPU_INSTRUCTION_ACCESS_DISABLE;
  MPU_InitStruct.IsShareable = MPU_ACCESS_NOT_SHAREABLE;
  MPU_InitStruct.IsCacheable = MPU_ACCESS_CACHEABLE;
  MPU_InitStruct.IsBufferable = MPU_ACCESS_BUFFERABLE;

  HAL_MPU_ConfigRegion(&MPU_InitStruct);

  /** Initializes and configures the Region and the memory to be protected
  */
  MPU_InitStruct.Number = MPU_REGION_NUMBER1;
  MPU_InitStruct.BaseAddress = 0x70000000;
  MPU_InitStruct.Size = MPU_REGION_SIZE_512MB;
  MPU_InitStruct.AccessPermission = MPU_REGION_NO_ACCESS;
  MPU_InitStruct.IsCacheable = MPU_ACCESS_NOT_CACHEABLE;
  MPU_InitStruct.IsBufferable = MPU_ACCESS_NOT_BUFFERABLE;

  HAL_MPU_ConfigRegion(&MPU_InitStruct);

  /** Initializes and configures the Region and the memory to be protected
  */
  MPU_InitStruct.Number = MPU_REGION_NUMBER2;
  MPU_InitStruct.Size = MPU_REGION_SIZE_8MB;
  MPU_InitStruct.AccessPermission = MPU_REGION_FULL_ACCESS;
  MPU_InitStruct.IsCacheable = MPU_ACCESS_CACHEABLE;
  MPU_InitStruct.IsBufferable = MPU_ACCESS_BUFFERABLE;

  HAL_MPU_ConfigRegion(&MPU_InitStruct);

  /** Initializes and configures the Region and the memory to be protected
  */
  MPU_InitStruct.Number = MPU_REGION_NUMBER3;
  MPU_InitStruct.BaseAddress = 0x90000000;
  MPU_InitStruct.Size = MPU_REGION_SIZE_512MB;
  MPU_InitStruct.AccessPermission = MPU_REGION_NO_ACCESS;
  MPU_InitStruct.IsCacheable = MPU_ACCESS_NOT_CACHEABLE;
  MPU_InitStruct.IsBufferable = MPU_ACCESS_NOT_BUFFERABLE;

  HAL_MPU_ConfigRegion(&MPU_InitStruct);

  /** Initializes and configures the Region and the memory to be protected
  */
  MPU_InitStruct.Number = MPU_REGION_NUMBER4;
  MPU_InitStruct.Size = MPU_REGION_SIZE_64MB;
  MPU_InitStruct.AccessPermission = MPU_REGION_FULL_ACCESS;
  MPU_InitStruct.IsCacheable = MPU_ACCESS_CACHEABLE;

  HAL_MPU_ConfigRegion(&MPU_InitStruct);
  /* Enables the MPU */
  HAL_MPU_Enable(MPU_PRIVILEGED_DEFAULT);

}

void HAL_TIM_PeriodElapsedCallback(TIM_HandleTypeDef *htim)
{
  if (htim->Instance == TIM6) {
    HAL_IncTick();
  }
}

void Error_Handler(void)
{
}
